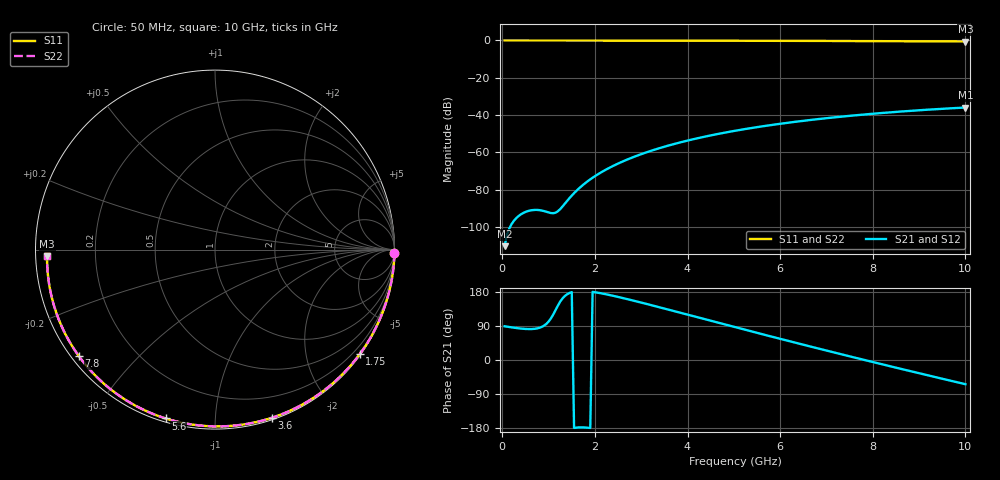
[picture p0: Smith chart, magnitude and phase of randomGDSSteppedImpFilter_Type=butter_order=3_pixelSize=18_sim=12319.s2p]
! freq	dB(S11)	phase(S11)	dB(S12)	phase(S12)
!  dB(S21)	phase(S21)	dB(S22)	phase(S22)
!S-par simulation data
#  GHz  S  DB  R 50
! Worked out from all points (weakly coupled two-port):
!   200 points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, 50 MHz to 10 GHz, reference 50 ohm
!   highest |S21| = -35.99 dB at 10 GHz (marker M1); lowest = -110.4 dB at 50 MHz (marker M2)
!   lowest |S11| = -0.6 dB at 10 GHz (marker M3), VSWR 30.44, Z = 1.64 - j0.98 ohm
!   |S11| at or under -10 dB: nowhere
!   |S22| runs from -0.6 to 0.0 dB; largest |S21 - S12| = 0
!   S11 on the Smith chart (normalised r, x): 50 MHz: open; 1.75 GHz: 0.03, -3.09; 3.6 GHz: 0.02, -1.39; 5.6 GHz: 0.02, -0.75; 7.8 GHz: 0.02, -0.34; 10 GHz: 0.03, -0.02
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0.05  -0.00 -1.0  -110.37 89.0  -110.37 89.0  -0.00 -1.0
0.4  -0.01 -8.4  -93.32 83.0  -93.32 83.0  -0.01 -8.3
0.8  -0.02 -16.6  -91.03 84.9  -91.03 84.9  -0.02 -16.6
1.6  -0.04 -32.9  -80.67 -178.4  -80.67 -178.4  -0.04 -32.9
1.65  -0.04 -33.9  -79.50 -177.9  -79.50 -177.9  -0.04 -33.9
1.75  -0.05 -35.9  -77.35 -177.9  -77.35 -177.9  -0.05 -35.9
1.9  -0.05 -38.9  -74.51 -179.4  -74.51 -179.4  -0.05 -38.8
2.05  -0.05 -41.8  -72.03 177.8  -72.03 177.8  -0.05 -41.8
2.25  -0.06 -45.8  -69.14 173.2  -69.14 173.2  -0.06 -45.7
2.45  -0.06 -49.7  -66.62 167.9  -66.62 167.9  -0.06 -49.6
2.9  -0.08 -58.3  -61.91 154.6  -61.91 154.6  -0.08 -58.3
3.4  -0.09 -67.7  -57.73 139.0  -57.73 139.0  -0.09 -67.7
3.6  -0.10 -71.4  -56.29 132.6  -56.29 132.6  -0.10 -71.4
4.3  -0.12 -84.0  -52.00 110.1  -52.00 110.1  -0.12 -84.0
5.05  -0.15 -97.0  -48.35 86.0  -48.35 86.0  -0.15 -97.0
5.6  -0.17 -106.3  -46.13 68.5  -46.13 68.5  -0.17 -106.3
6.15  -0.20 -115.4  -44.20 51.2  -44.20 51.2  -0.20 -115.4
6.7  -0.24 -124.4  -42.53 34.1  -42.53 34.1  -0.24 -124.3
7.8  -0.33 -141.9  -39.76 0.6  -39.76 0.6  -0.33 -141.9
8.35  -0.38 -150.7  -38.62 -15.8  -38.62 -15.8  -0.38 -150.7
9.2  -0.47 -164.4  -37.12 -40.7  -37.12 -40.7  -0.47 -164.4
10  -0.57 -177.8  -35.99 -63.8  -35.99 -63.8  -0.57 -177.7
